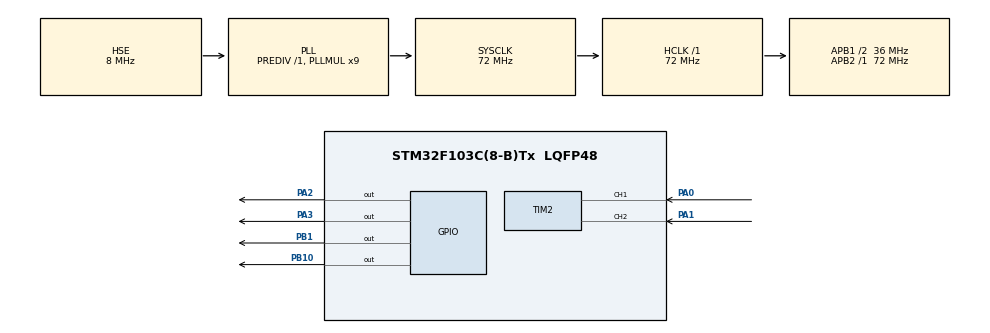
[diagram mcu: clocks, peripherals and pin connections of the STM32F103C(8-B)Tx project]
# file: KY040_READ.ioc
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Mcu.Family=STM32F1
Mcu.Name=STM32F103C(8-B)Tx
Mcu.Package=LQFP48
NVIC.PriorityGroup=NVIC_PRIORITYGROUP_4
NVIC.TIM2_IRQn=true\:0\:0\:false\:false\:true\:true\:true\:true
NVIC.TIM3_IRQn=true\:0\:0\:false\:false\:true\:true\:true\:true
PA0-WKUP.Signal=S_TIM2_CH1_ETR
PA1.Signal=S_TIM2_CH2
PA13.Mode=Serial_Wire
PA13.Signal=SYS_JTMS-SWDIO
PA14.Mode=Serial_Wire
PA14.Signal=SYS_JTCK-SWCLK
PA2.Signal=GPIO_Output
PA3.Signal=GPIO_Output
PB1.Signal=GPIO_Output
PB10.Signal=GPIO_Output
PD0-OSC_IN.Mode=HSE-External-Oscillator
PD0-OSC_IN.Signal=RCC_OSC_IN
PD1-OSC_OUT.Mode=HSE-External-Oscillator
PD1-OSC_OUT.Signal=RCC_OSC_OUT
ProjectManager.HeapSize=0x200
ProjectManager.StackSize=0x400
ProjectManager.TargetToolchain=STM32CubeIDE
RCC.AHBFreq_Value=72000000
RCC.APB1CLKDivider=RCC_HCLK_DIV2
RCC.APB1Freq_Value=36000000
RCC.APB1TimFreq_Value=72000000
RCC.APB2Freq_Value=72000000
RCC.APB2TimFreq_Value=72000000
RCC.HCLKFreq_Value=72000000
RCC.PLLMUL=RCC_PLL_MUL9
RCC.PLLSourceVirtual=RCC_PLLSOURCE_HSE
RCC.SYSCLKFreq_VALUE=72000000
RCC.SYSCLKSource=RCC_SYSCLKSOURCE_PLLCLK
RCC.USBFreq_Value=72000000
SH.S_TIM2_CH1_ETR.0=TIM2_CH1,Encoder_Interface
SH.S_TIM2_CH2.0=TIM2_CH2,Encoder_Interface
TIM2.EncoderMode=TIM_ENCODERMODE_TI12
TIM2.IC1Polarity=TIM_ICPOLARITY_FALLING
TIM2.IC2Polarity=TIM_ICPOLARITY_FALLING
TIM3.Period=1000-1
TIM3.Prescaler=72-1
VP_TIM3_VS_ClockSourceINT.Mode=Internal
board=custom

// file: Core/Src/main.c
/* USER CODE BEGIN Header */
/**
  ******************************************************************************
  * @file           : main.c
  * @brief          : Main program body
  ******************************************************************************
  * @attention
  *
  * Copyright (c) 2023 STMicroelectronics.
  * All rights reserved.
  *
  * This software is licensed under terms that can be found in the LICENSE file
  * in the root directory of this software component.
  * If no LICENSE file comes with this software, it is provided AS-IS.
  *
  ******************************************************************************
  */
/* USER CODE END Header */
#include "main.h"

/* USER CODE BEGIN Includes */
int currentAngle = 0;
int angle = 0;
float stepPerAngle = 1.8 ; // full step = 1.8
int   numstep;
int state = 1;

int e;
int preE;
float ei;
float ed;
int t = 80;
float kp = 1,ki = 0.05,kd = 0;
int u;
/* USER CODE END Includes */

TIM_HandleTypeDef htim2;
TIM_HandleTypeDef htim3;

void SystemClock_Config(void);
static void MX_GPIO_Init(void);
static void MX_TIM2_Init(void);
static void MX_TIM3_Init(void);

/* USER CODE BEGIN 0 */
uint32_t counter = 0;
int16_t count = 0;
int16_t position = 0;
void HAL_TIM_IC_CaptureCallback(TIM_HandleTypeDef *htim){
	counter = __HAL_TIM_GET_COUNTER(htim);
	count = (int16_t)counter;
	position = count/4;
}
void Drive(){
//	int n;
//	if(currentAngle != angle ){
//		if( currentAngle < angle){
//			HAL_GPIO_WritePin(GPIOB, GPIO_PIN_10, 0);
//			 n = angle - currentAngle;
//			numstep = (n / stepPerAngle);
//		}
//	  else if( currentAngle > angle){
//		  HAL_GPIO_WritePin(GPIOB, GPIO_PIN_10, 1);
//		  n = currentAngle - angle;
//		  if( angle == 0){
//			 n =currentAngle;
//		  }
//		 numstep = (n / stepPerAngle);
//	  }
//
//	  for(int x = 0; x <numstep; x++) {
	if(u!=0){
			 HAL_GPIO_WritePin(GPIOB, GPIO_PIN_1, 1);
			 HAL_Delay(1);
			 HAL_GPIO_WritePin(GPIOB, GPIO_PIN_1, 0);
			 HAL_Delay(1);
	}
	else{
		HAL_GPIO_WritePin(GPIOB, GPIO_PIN_1, 0);
		 HAL_Delay(1);
		 HAL_GPIO_WritePin(GPIOB, GPIO_PIN_1, 0);
		 HAL_Delay(1);
	}
//		  }
//	  currentAngle = angle;
//	}
}
void HAL_TIM_PeriodElapsedCallback(TIM_HandleTypeDef *htim){
	e = t - count;
	ei += e*0.001;
	ed = (e-preE)/0.001;
	if (ei>0.09){
		ei = 0.09;
	}
	u = kp*e + ki*ei + kd*ed;
//	angle = u*360/20;
	preE = e;
	if (u>0){
		HAL_GPIO_WritePin(GPIOB, GPIO_PIN_10, 1);
	}
	else if (u<0){
		HAL_GPIO_WritePin(GPIOB, GPIO_PIN_10, 0);
	}

}
/* USER CODE END 0 */

int main(void)
{

  /* MCU Configuration--------------------------------------------------------*/

  /* Reset of all peripherals, Initializes the Flash interface and the Systick. */
  HAL_Init();

  /* Configure the system clock */
  SystemClock_Config();

  /* Initialize all configured peripherals */
  MX_GPIO_Init();
  MX_TIM2_Init();
  MX_TIM3_Init();
  /* USER CODE BEGIN 2 */
  HAL_TIM_Encoder_Start_IT(&htim2,TIM_CHANNEL_ALL);
  HAL_TIM_Base_Start_IT(&htim3);
  /* USER CODE END 2 */

  /* Infinite loop */
  while (1)
  {
	  Drive();
  }
}

void SystemClock_Config(void)
{
  RCC_OscInitTypeDef RCC_OscInitStruct = {0};
  RCC_ClkInitTypeDef RCC_ClkInitStruct = {0};

  /** Initializes the RCC Oscillators according to the specified parameters
  * in the RCC_OscInitTypeDef structure.
  */
  RCC_OscInitStruct.OscillatorType = RCC_OSCILLATORTYPE_HSE;
  RCC_OscInitStruct.HSEState = RCC_HSE_ON;
  RCC_OscInitStruct.HSEPredivValue = RCC_HSE_PREDIV_DIV1;
  RCC_OscInitStruct.HSIState = RCC_HSI_ON;
  RCC_OscInitStruct.PLL.PLLState = RCC_PLL_ON;
  RCC_OscInitStruct.PLL.PLLSource = RCC_PLLSOURCE_HSE;
  RCC_OscInitStruct.PLL.PLLMUL = RCC_PLL_MUL9;
  if (HAL_RCC_OscConfig(&RCC_OscInitStruct) != HAL_OK)
  {
    Error_Handler();
  }

  /** Initializes the CPU, AHB and APB buses clocks
  */
  RCC_ClkInitStruct.ClockType = RCC_CLOCKTYPE_HCLK|RCC_CLOCKTYPE_SYSCLK
                              |RCC_CLOCKTYPE_PCLK1|RCC_CLOCKTYPE_PCLK2;
  RCC_ClkInitStruct.SYSCLKSource = RCC_SYSCLKSOURCE_PLLCLK;
  RCC_ClkInitStruct.AHBCLKDivider = RCC_SYSCLK_DIV1;
  RCC_ClkInitStruct.APB1CLKDivider = RCC_HCLK_DIV2;
  RCC_ClkInitStruct.APB2CLKDivider = RCC_HCLK_DIV1;

  if (HAL_RCC_ClockConfig(&RCC_ClkInitStruct, FLASH_LATENCY_2) != HAL_OK)
  {
    Error_Handler();
  }
}

static void MX_TIM2_Init(void)
{

  TIM_Encoder_InitTypeDef sConfig = {0};
  TIM_MasterConfigTypeDef sMasterConfig = {0};

  htim2.Instance = TIM2;
  htim2.Init.Prescaler = 0;
  htim2.Init.CounterMode = TIM_COUNTERMODE_UP;
  htim2.Init.Period = 65535;
  htim2.Init.ClockDivision = TIM_CLOCKDIVISION_DIV1;
  htim2.Init.AutoReloadPreload = TIM_AUTORELOAD_PRELOAD_DISABLE;
  sConfig.EncoderMode = TIM_ENCODERMODE_TI12;
  sConfig.IC1Polarity = TIM_ICPOLARITY_FALLING;
  sConfig.IC1Selection = TIM_ICSELECTION_DIRECTTI;
  sConfig.IC1Prescaler = TIM_ICPSC_DIV1;
  sConfig.IC1Filter = 0;
  sConfig.IC2Polarity = TIM_ICPOLARITY_FALLING;
  sConfig.IC2Selection = TIM_ICSELECTION_DIRECTTI;
  sConfig.IC2Prescaler = TIM_ICPSC_DIV1;
  sConfig.IC2Filter = 0;
  if (HAL_TIM_Encoder_Init(&htim2, &sConfig) != HAL_OK)
  {
    Error_Handler();
  }
  sMasterConfig.MasterOutputTrigger = TIM_TRGO_RESET;
  sMasterConfig.MasterSlaveMode = TIM_MASTERSLAVEMODE_DISABLE;
  if (HAL_TIMEx_MasterConfigSynchronization(&htim2, &sMasterConfig) != HAL_OK)
  {
    Error_Handler();
  }

}

static void MX_TIM3_Init(void)
{

  TIM_ClockConfigTypeDef sClockSourceConfig = {0};
  TIM_MasterConfigTypeDef sMasterConfig = {0};

  htim3.Instance = TIM3;
  htim3.Init.Prescaler = 72-1;
  htim3.Init.CounterMode = TIM_COUNTERMODE_UP;
  htim3.Init.Period = 1000-1;
  htim3.Init.ClockDivision = TIM_CLOCKDIVISION_DIV1;
  htim3.Init.AutoReloadPreload = TIM_AUTORELOAD_PRELOAD_DISABLE;
  if (HAL_TIM_Base_Init(&htim3) != HAL_OK)
  {
    Error_Handler();
  }
  sClockSourceConfig.ClockSource = TIM_CLOCKSOURCE_INTERNAL;
  if (HAL_TIM_ConfigClockSource(&htim3, &sClockSourceConfig) != HAL_OK)
  {
    Error_Handler();
  }
  sMasterConfig.MasterOutputTrigger = TIM_TRGO_RESET;
  sMasterConfig.MasterSlaveMode = TIM_MASTERSLAVEMODE_DISABLE;
  if (HAL_TIMEx_MasterConfigSynchronization(&htim3, &sMasterConfig) != HAL_OK)
  {
    Error_Handler();
  }

}

static void MX_GPIO_Init(void)
{
  GPIO_InitTypeDef GPIO_InitStruct = {0};

  /* GPIO Ports Clock Enable */
  __HAL_RCC_GPIOD_CLK_ENABLE();
  __HAL_RCC_GPIOA_CLK_ENABLE();
  __HAL_RCC_GPIOB_CLK_ENABLE();

  /*Configure GPIO pin Output Level */
  HAL_GPIO_WritePin(GPIOA, GPIO_PIN_2|GPIO_PIN_3, GPIO_PIN_RESET);

  /*Configure GPIO pin Output Level */
  HAL_GPIO_WritePin(GPIOB, GPIO_PIN_1|GPIO_PIN_10, GPIO_PIN_RESET);

  /*Configure GPIO pins : PA2 PA3 */
  GPIO_InitStruct.Pin = GPIO_PIN_2|GPIO_PIN_3;
  GPIO_InitStruct.Mode = GPIO_MODE_OUTPUT_PP;
  GPIO_InitStruct.Pull = GPIO_NOPULL;
  GPIO_InitStruct.Speed = GPIO_SPEED_FREQ_LOW;
  HAL_GPIO_Init(GPIOA, &GPIO_InitStruct);

  /*Configure GPIO pins : PB1 PB10 */
  GPIO_InitStruct.Pin = GPIO_PIN_1|GPIO_PIN_10;
  GPIO_InitStruct.Mode = GPIO_MODE_OUTPUT_PP;
  GPIO_InitStruct.Pull = GPIO_NOPULL;
  GPIO_InitStruct.Speed = GPIO_SPEED_FREQ_LOW;
  HAL_GPIO_Init(GPIOB, &GPIO_InitStruct);

}

void Error_Handler(void)
{
  __disable_irq();
  while (1)
  {
  }
}
